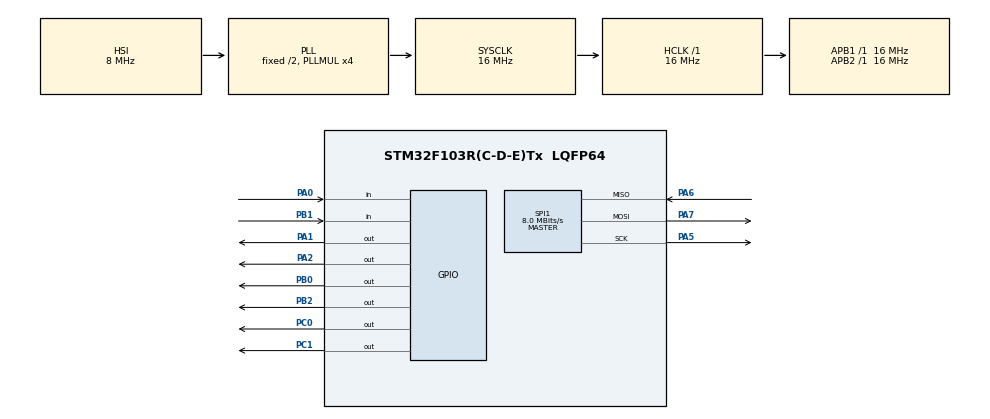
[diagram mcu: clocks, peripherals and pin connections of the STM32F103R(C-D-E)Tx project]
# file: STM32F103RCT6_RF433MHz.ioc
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Mcu.Family=STM32F1
Mcu.Name=STM32F103R(C-D-E)Tx
Mcu.Package=LQFP64
NVIC.PriorityGroup=NVIC_PRIORITYGROUP_4
NVIC.TIM6_IRQn=true\:0\:0\:false\:false\:true\:true\:true
PA0-WKUP.Signal=GPIO_Input
PA1.Signal=GPIO_Output
PA2.Signal=GPIO_Output
PA5.Mode=Full_Duplex_Master
PA5.Signal=SPI1_SCK
PA6.Mode=Full_Duplex_Master
PA6.Signal=SPI1_MISO
PA7.Mode=Full_Duplex_Master
PA7.Signal=SPI1_MOSI
PB0.Signal=GPIO_Output
PB1.Signal=GPIO_Input
PB2.Signal=GPIO_Output
PC0.Signal=GPIO_Output
PC1.Signal=GPIO_Output
ProjectManager.HeapSize=0x200
ProjectManager.StackSize=0x400
ProjectManager.TargetToolchain=STM32CubeIDE
RCC.AHBFreq_Value=16000000
RCC.APB1Freq_Value=16000000
RCC.APB1TimFreq_Value=16000000
RCC.APB2Freq_Value=16000000
RCC.APB2TimFreq_Value=16000000
RCC.HCLKFreq_Value=16000000
RCC.PLLMUL=RCC_PLL_MUL4
RCC.SYSCLKFreq_VALUE=16000000
RCC.SYSCLKSource=RCC_SYSCLKSOURCE_PLLCLK
RCC.USBFreq_Value=16000000
SPI1.BaudRatePrescaler=SPI_BAUDRATEPRESCALER_2
SPI1.CalculateBaudRate=8.0 MBits/s
SPI1.Direction=SPI_DIRECTION_2LINES
SPI1.Mode=SPI_MODE_MASTER
SPI1.VirtualType=VM_MASTER
TIM6.Period=1
TIM6.Prescaler=15
VP_SYS_VS_ND.Mode=No_Debug
VP_TIM6_VS_ClockSourceINT.Mode=Enable_Timer
board=custom

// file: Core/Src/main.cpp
/* USER CODE BEGIN Header */
/**
  ******************************************************************************
  * @file           : main.c
  * @brief          : Main program body
  ******************************************************************************
  * @attention
  *
  * <h2><center>&copy; Copyright (c) 2020 STMicroelectronics.
  * All rights reserved.</center></h2>
  *
  * This software component is licensed by ST under BSD 3-Clause license,
  * the "License"; You may not use this file except in compliance with the
  * License. You may obtain a copy of the License at:
  *                        opensource.org/licenses/BSD-3-Clause
  *
  ******************************************************************************
  */
/* USER CODE END Header */
#include "main.h"

/* USER CODE BEGIN Includes */
#include "virtualwire.h"
/* USER CODE END Includes */

/* USER CODE BEGIN PTD */
extern VWConf_t _VWConf;
virtual_wire vw;
/* USER CODE END PTD */

/* USER CODE BEGIN PD */
#define msg "Hello World!\r\n"
/* USER CODE END PD */

SPI_HandleTypeDef hspi1;

TIM_HandleTypeDef htim6;

void SystemClock_Config(void);
static void MX_GPIO_Init(void);
static void MX_SPI1_Init(void);
static void MX_TIM6_Init(void);

/* USER CODE BEGIN 0 */
bool _vw_rx_pin(void)
{
	return HAL_GPIO_ReadPin(GPIOA, GPIO_PIN_0);
}
void _vw_tx_pin(bool value)
{
	if(value == 1)HAL_GPIO_WritePin(GPIOA, GPIO_PIN_1, GPIO_PIN_SET);
	else HAL_GPIO_WritePin(GPIOA, GPIO_PIN_1, GPIO_PIN_RESET);
}
void _vw_ptt_pin(bool value)
{
	if(value == 1)HAL_GPIO_WritePin(GPIOA, GPIO_PIN_2, GPIO_PIN_SET);
	else HAL_GPIO_WritePin(GPIOA, GPIO_PIN_3, GPIO_PIN_RESET);
}
/* USER CODE END 0 */

int main(void)
{

  /* MCU Configuration--------------------------------------------------------*/

  /* Reset of all peripherals, Initializes the Flash interface and the Systick. */
  HAL_Init();

  /* Configure the system clock */
  SystemClock_Config();

  /* Initialize all configured peripherals */
  MX_GPIO_Init();
  MX_SPI1_Init();
  MX_TIM6_Init();
  /* USER CODE BEGIN 2 */
	HAL_TIM_Base_Start_IT(&htim6);
	vw.reg_vw_rx_pin(_vw_rx_pin);
	vw.reg_vw_tx_pin(_vw_tx_pin);
	vw.reg_vw_ptt_pin(_vw_ptt_pin);

	vw.vw_set_ptt_inverted(true); // Required for DR3100
	vw.vw_setup(2000);	 // Bits per sec
  /* USER CODE END 2 */

  /* Infinite loop */
  /* USER CODE BEGIN WHILE */
  while (1)
  {
	  HAL_GPIO_TogglePin(GPIOC, GPIO_PIN_0);
	  vw.vw_send((uint8_t *)msg, strlen(msg));
	  vw.vw_wait_tx(); // Wait until the whole message is gone
	  HAL_Delay(200);
    /* USER CODE END WHILE */

  }
}

void SystemClock_Config(void)
{
  RCC_OscInitTypeDef RCC_OscInitStruct = {0};
  RCC_ClkInitTypeDef RCC_ClkInitStruct = {0};

  /** Initializes the RCC Oscillators according to the specified parameters
  * in the RCC_OscInitTypeDef structure.
  */
  RCC_OscInitStruct.OscillatorType = RCC_OSCILLATORTYPE_HSI;
  RCC_OscInitStruct.HSIState = RCC_HSI_ON;
  RCC_OscInitStruct.HSICalibrationValue = RCC_HSICALIBRATION_DEFAULT;
  RCC_OscInitStruct.PLL.PLLState = RCC_PLL_ON;
  RCC_OscInitStruct.PLL.PLLSource = RCC_PLLSOURCE_HSI_DIV2;
  RCC_OscInitStruct.PLL.PLLMUL = RCC_PLL_MUL4;
  if (HAL_RCC_OscConfig(&RCC_OscInitStruct) != HAL_OK)
  {
    Error_Handler();
  }
  /** Initializes the CPU, AHB and APB buses clocks
  */
  RCC_ClkInitStruct.ClockType = RCC_CLOCKTYPE_HCLK|RCC_CLOCKTYPE_SYSCLK
                              |RCC_CLOCKTYPE_PCLK1|RCC_CLOCKTYPE_PCLK2;
  RCC_ClkInitStruct.SYSCLKSource = RCC_SYSCLKSOURCE_PLLCLK;
  RCC_ClkInitStruct.AHBCLKDivider = RCC_SYSCLK_DIV1;
  RCC_ClkInitStruct.APB1CLKDivider = RCC_HCLK_DIV1;
  RCC_ClkInitStruct.APB2CLKDivider = RCC_HCLK_DIV1;

  if (HAL_RCC_ClockConfig(&RCC_ClkInitStruct, FLASH_LATENCY_0) != HAL_OK)
  {
    Error_Handler();
  }
}

static void MX_SPI1_Init(void)
{

  /* SPI1 parameter configuration*/
  hspi1.Instance = SPI1;
  hspi1.Init.Mode = SPI_MODE_MASTER;
  hspi1.Init.Direction = SPI_DIRECTION_2LINES;
  hspi1.Init.DataSize = SPI_DATASIZE_8BIT;
  hspi1.Init.CLKPolarity = SPI_POLARITY_LOW;
  hspi1.Init.CLKPhase = SPI_PHASE_1EDGE;
  hspi1.Init.NSS = SPI_NSS_SOFT;
  hspi1.Init.BaudRatePrescaler = SPI_BAUDRATEPRESCALER_2;
  hspi1.Init.FirstBit = SPI_FIRSTBIT_MSB;
  hspi1.Init.TIMode = SPI_TIMODE_DISABLE;
  hspi1.Init.CRCCalculation = SPI_CRCCALCULATION_DISABLE;
  hspi1.Init.CRCPolynomial = 10;
  if (HAL_SPI_Init(&hspi1) != HAL_OK)
  {
    Error_Handler();
  }

}

static void MX_TIM6_Init(void)
{

  TIM_MasterConfigTypeDef sMasterConfig = {0};

  htim6.Instance = TIM6;
  htim6.Init.Prescaler = 15;
  htim6.Init.CounterMode = TIM_COUNTERMODE_UP;
  htim6.Init.Period = 1;
  htim6.Init.AutoReloadPreload = TIM_AUTORELOAD_PRELOAD_DISABLE;
  if (HAL_TIM_Base_Init(&htim6) != HAL_OK)
  {
    Error_Handler();
  }
  sMasterConfig.MasterOutputTrigger = TIM_TRGO_RESET;
  sMasterConfig.MasterSlaveMode = TIM_MASTERSLAVEMODE_DISABLE;
  if (HAL_TIMEx_MasterConfigSynchronization(&htim6, &sMasterConfig) != HAL_OK)
  {
    Error_Handler();
  }

}

static void MX_GPIO_Init(void)
{
  GPIO_InitTypeDef GPIO_InitStruct = {0};

  /* GPIO Ports Clock Enable */
  __HAL_RCC_GPIOC_CLK_ENABLE();
  __HAL_RCC_GPIOA_CLK_ENABLE();
  __HAL_RCC_GPIOB_CLK_ENABLE();

  /*Configure GPIO pin Output Level */
  HAL_GPIO_WritePin(GPIOC, GPIO_PIN_0|GPIO_PIN_1, GPIO_PIN_RESET);

  /*Configure GPIO pin Output Level */
  HAL_GPIO_WritePin(GPIOA, GPIO_PIN_1|GPIO_PIN_2, GPIO_PIN_RESET);

  /*Configure GPIO pin Output Level */
  HAL_GPIO_WritePin(GPIOB, GPIO_PIN_0|GPIO_PIN_2, GPIO_PIN_RESET);

  /*Configure GPIO pins : PC0 PC1 */
  GPIO_InitStruct.Pin = GPIO_PIN_0|GPIO_PIN_1;
  GPIO_InitStruct.Mode = GPIO_MODE_OUTPUT_PP;
  GPIO_InitStruct.Pull = GPIO_NOPULL;
  GPIO_InitStruct.Speed = GPIO_SPEED_FREQ_LOW;
  HAL_GPIO_Init(GPIOC, &GPIO_InitStruct);

  /*Configure GPIO pin : PA0 */
  GPIO_InitStruct.Pin = GPIO_PIN_0;
  GPIO_InitStruct.Mode = GPIO_MODE_INPUT;
  GPIO_InitStruct.Pull = GPIO_NOPULL;
  HAL_GPIO_Init(GPIOA, &GPIO_InitStruct);

  /*Configure GPIO pins : PA1 PA2 */
  GPIO_InitStruct.Pin = GPIO_PIN_1|GPIO_PIN_2;
  GPIO_InitStruct.Mode = GPIO_MODE_OUTPUT_PP;
  GPIO_InitStruct.Pull = GPIO_NOPULL;
  GPIO_InitStruct.Speed = GPIO_SPEED_FREQ_LOW;
  HAL_GPIO_Init(GPIOA, &GPIO_InitStruct);

  /*Configure GPIO pins : PB0 PB2 */
  GPIO_InitStruct.Pin = GPIO_PIN_0|GPIO_PIN_2;
  GPIO_InitStruct.Mode = GPIO_MODE_OUTPUT_PP;
  GPIO_InitStruct.Pull = GPIO_NOPULL;
  GPIO_InitStruct.Speed = GPIO_SPEED_FREQ_LOW;
  HAL_GPIO_Init(GPIOB, &GPIO_InitStruct);

  /*Configure GPIO pin : PB1 */
  GPIO_InitStruct.Pin = GPIO_PIN_1;
  GPIO_InitStruct.Mode = GPIO_MODE_INPUT;
  GPIO_InitStruct.Pull = GPIO_NOPULL;
  HAL_GPIO_Init(GPIOB, &GPIO_InitStruct);

}

void Error_Handler(void)
{
}

/************************ (C) COPYRIGHT STMicroelectronics *****END OF FILE****/
